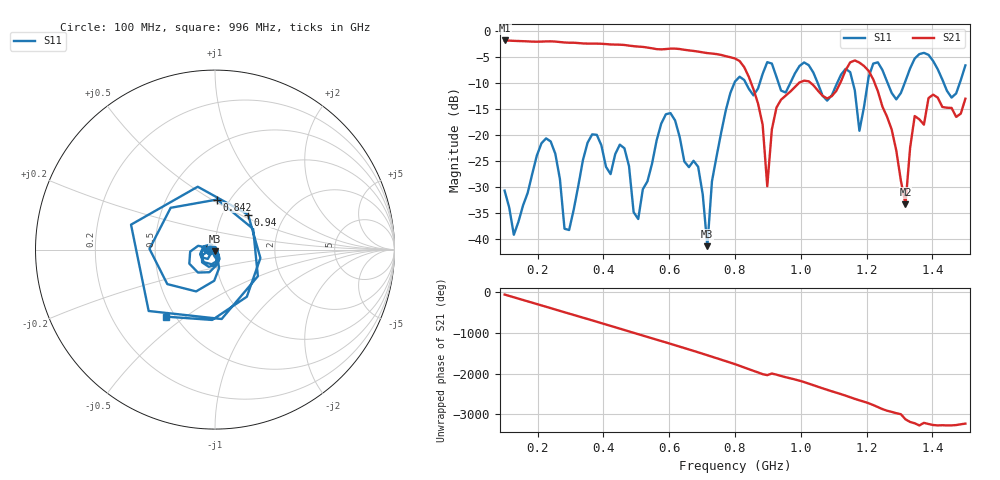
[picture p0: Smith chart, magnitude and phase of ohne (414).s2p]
! NanoVNA-App
! Date: 2025-09-25 14:24:01
! Start: 100MHz Stop: 1,5GHz Points: 101
! S-Parameter data: F S11 S21 S12 S22
# Hz S RI R 50
!  Frequency  S11_Real  S11_Imag  S21_Real  S21_Imag  S12_Real  S12_Imag  S22_Real  S22_Imag
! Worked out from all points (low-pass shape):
!   101 points, 100 MHz to 1.5 GHz, reference 50 ohm
!   highest |S21| = -1.79 dB at 100 MHz (marker M1); lowest = -33.2 dB at 1.318 GHz (marker M2)
!   |S21| within 3 dB of the highest: start of sweep to 770.8 MHz
!   lowest |S11| = -41.3 dB at 716 MHz (marker M3), VSWR 1.02, Z = 49.9 - j0.848 ohm
!   |S11| at or under -10 dB: start of sweep to 798 MHz; 833.1 MHz to 875.1 MHz (41.98 MHz wide, 4.91 % of centre); 1.052 GHz to 1.11 GHz (58.67 MHz wide, 5.43 % of centre) (the widest 3 of 7)
!   S12 and S22 are empty: the file has one direction only
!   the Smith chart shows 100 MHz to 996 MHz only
!   S11 on the Smith chart (normalised r, x): 100 MHz: 0.94, -0.01; 842 MHz: 0.88, +0.53; 940 MHz: 1.32, +0.56; 996 MHz: 0.45, -0.42
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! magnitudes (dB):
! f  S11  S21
! 100 MHz  -30.6  -1.8
! 128 MHz  -39.1  -1.9
! 226 MHz  -20.6  -2.0
! 296 MHz  -38.2  -2.2
! 338 MHz  -24.8  -2.4
! 464 MHz  -22.5  -2.7
! 506 MHz  -36.1  -3.0
! 576 MHz  -17.7  -3.5
! 688 MHz  -26.0  -3.9
! 716 MHz  -41.3  -4.2
! 800 MHz  -9.7  -5.3
! 842 MHz  -11.1  -8.8
! 898 MHz  -6.0  -29.8
! 940 MHz  -11.4  -13.2
! 996 MHz  -6.7  -9.9
! 1.038 GHz  -8.0  -10.4
! 1.178 GHz  -19.1  -6.0
! 1.22 GHz  -6.2  -9.3
! 1.276 GHz  -11.9  -18.9
! 1.318 GHz  -9.6  -33.2
! 1.346 GHz  -5.3  -16.3
! 1.5 GHz  -6.6  -13.0
